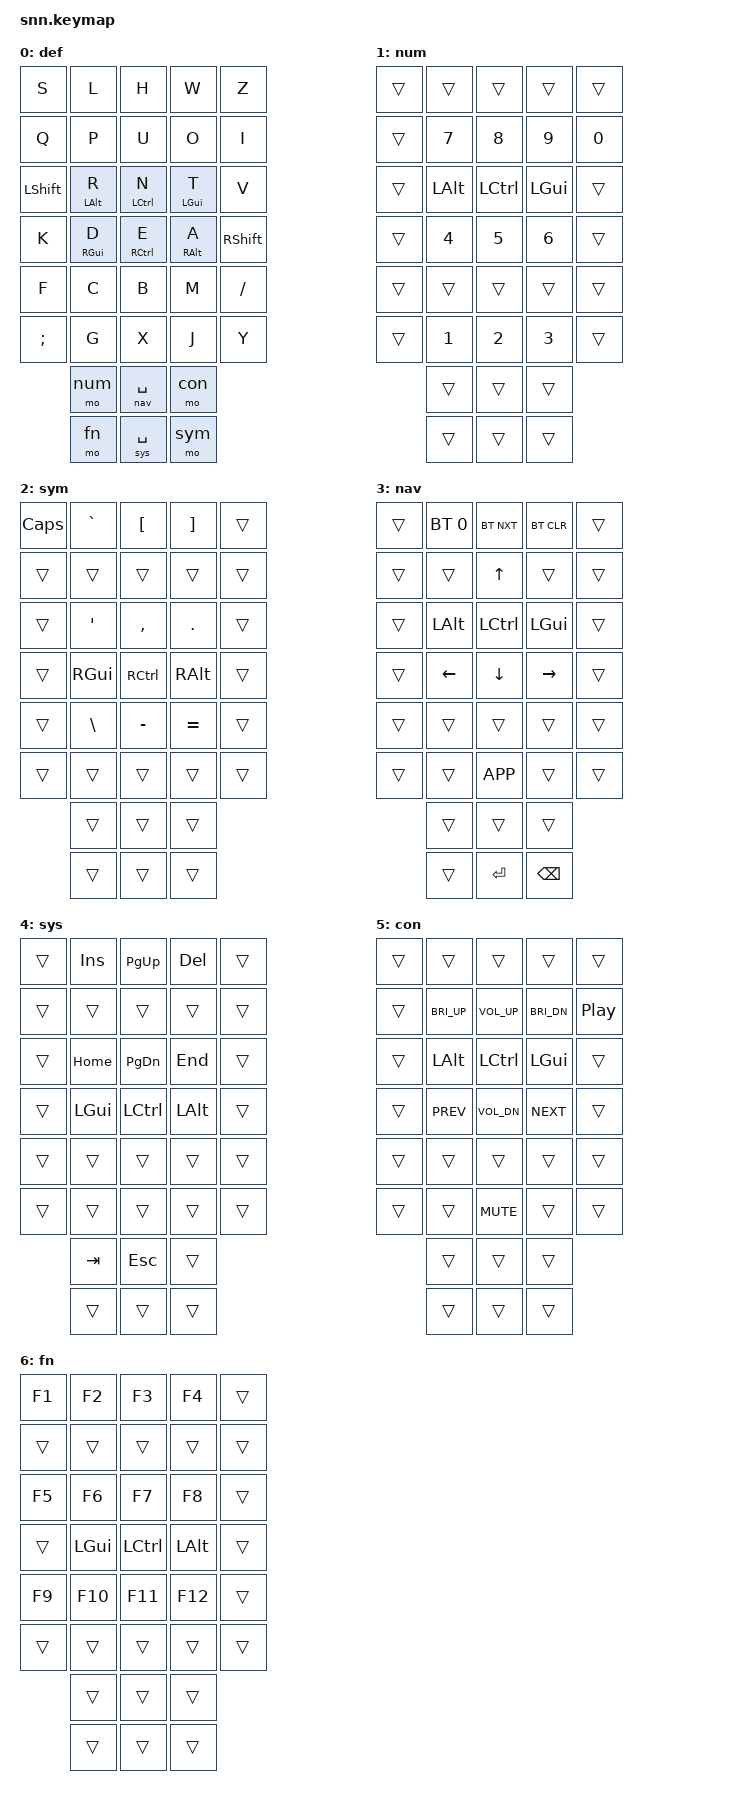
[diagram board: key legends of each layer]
#include <behaviors.dtsi>
#include <dt-bindings/zmk/keys.h>
#include <dt-bindings/zmk/bt.h>
#include <dt-bindings/zmk/outputs.h>

#define def 0
#define num 1
#define sym 2
#define nav 3
#define sys 4
#define con 5
#define fn 6

&lt {
    flavor = "balanced";
    tapping-term-ms = <1024>;
};

&mt {
    flavor = "balanced";
    tapping-term-ms = <1024>;
};

// &sk {
//     quick-release;
// };
//
// &sl {
//     quick-release;
// };

/ {

    keymap {
        compatible = "zmk,keymap";

        def {
//             ┌─────┐                                                 ┌─────┐
//       ┌─────┤  H  ├─────┬─────┐                         ┌─────┬─────┤  U  ├─────┐
// ┌─────┤  L  ├─────┤  W  │  Z  │                         │  Q  │  P  ├─────┤  O  ├─────┐
// │  S  ├─────┤  N  ├─────┼─────┤                         ├─────┼─────┤  E  ├─────┤  I  │
// ├─────┤  R  ├─CTL─┤  T  │  V  │                         │  K  │  D  ├─CTL─┤  A  ├─────┤
// │ SFT ├─ALT─┤  B  ├─GUI─┼─────┤                         ├─────┼─GUI─┤  X  ├─ALT─┤ SFT │
// ├─────┤  C  ├─────┤  M  │  /  │                         │  ;  │  G  ├─────┤  J  ├─────┤
// │  F  ├─────┘     └─────┴─────┘                         └─────┴─────┘     └─────┤  Y  │
// └─────┘               ┌─────┐                              ┌─────┐              └─────┘
//                       │ num ├─────┐                  ┌─────┤ sym │
//                       └─────┤ Spc ├─────┐      ┌─────┤ Spc ├─────┘
//                             └─nav─┤ con │      │ fn  ├─sys─┘
//                                   └─────┘      └─────┘
            bindings = <
                &kp S     &kp L     &kp H    &kp W      &kp Z
                    &kp Q    &kp P     &kp U    &kp O    &kp I

                &kp LSHFT     &mt LALT R     &mt LCTRL N    &mt LGUI T    &kp V
                    &kp K   &mt RGUI D     &mt RCTRL E      &mt RALT A     &kp RSHFT

                &kp F   &kp C   &kp B   &kp M   &kp SLASH
                    &kp SEMI   &kp G   &kp X   &kp J   &kp Y

                &mo num     &lt nav SPACE   &mo con
                    &mo fn    &lt sys SPACE    &mo sym
                >;
        };

        num {
//             ┌─────┐                                                 ┌─────┐
//       ┌─────┤     ├─────┬─────┐                         ┌─────┬─────┤  8  ├─────┐
// ┌─────┤     ├─────┤     │     │                         │     │  7  ├─────┤  9  ├─────┐
// │     ├─────┤ CTL ├─────┼─────┤                         ├─────┼─────┤  5  ├─────┤  0  │
// ├─────┤ ALT ├─────┤ GUI │     │                         │     │  4  ├─────┤  6  ├─────┤
// │     ├─────┤     ├─────┼─────┤                         ├─────┼─────┤  2  ├─────┤     │
// ├─────┤     ├─────┤     │     │                         │     │  1  ├─────┤  3  ├─────┤
// │     ├─────┘     └─────┴─────┘                         └─────┴─────┘     └─────┤     │
// └─────┘               ┌─────┐                              ┌─────┐              └─────┘
//                       │     ├─────┐                  ┌─────┤     │
//                       └─────┤     ├─────┐      ┌─────┤     ├─────┘
//                             └─────┤     │      │     ├─────┘
//                                   └─────┘      └─────┘
            bindings = <
                &trans    &trans    &trans    &trans    &trans
                    &trans      &kp N7      &kp N8      &kp N9      &kp N0

                &trans   &kp LALT   &kp LCTRL   &kp LGUI   &trans
                    &trans      &kp N4     &kp N5      &kp N6     &trans

                &trans    &trans     &trans      &trans     &trans
                    &trans      &kp N1     &kp N2      &kp N3     &trans

                &trans      &trans      &trans
                    &trans      &trans      &trans
                >;
        };

        sym {
//             ┌─────┐                                                 ┌─────┐
//       ┌─────┤  [  ├─────┬─────┐                         ┌─────┬─────┤     ├─────┐
// ┌─────┤  `  ├─────┤  ]  │     │                         │     │     ├─────┤     ├─────┐
// │ Cap ├─────┤  ,  ├─────┼─────┤                         ├─────┼─────┤ CTL ├─────┤     │
// ├─────┤  '  ├─────┤  .  │     │                         │     │ GUI ├─────┤ ALT ├─────┤
// │     ├─────┤  -  ├─────┼─────┤                         ├─────┼─────┤     ├─────┤     │
// ├─────┤  \  ├─────┤  =  │     │                         │     │     ├─────┤     ├─────┤
// │     ├─────┘     └─────┴─────┘                         └─────┴─────┘     └─────┤     │
// └─────┘               ┌─────┐                              ┌─────┐              └─────┘
//                       │     ├─────┐                  ┌─────┤     │
//                       └─────┤     ├─────┐      ┌─────┤     ├─────┘
//                             └─────┤     │      │     ├─────┘
//                                   └─────┘      └─────┘
            bindings = <
                &kp CAPS      &kp GRAVE   &kp LBKT      &kp RBKT    &trans
                    &trans      &trans      &trans        &trans      &trans

                &trans   &kp SQT     &kp COMMA     &kp DOT     &trans
                    &trans      &kp RGUI    &kp RCTRL     &kp RALT    &trans

                &trans    &kp BSLH    &kp MINUS     &kp EQUAL   &trans
                    &trans      &trans      &trans        &trans      &trans

                &trans      &trans      &trans
                    &trans      &trans      &trans
                >;
        };

        nav {
//             ┌─────┐                                                 ┌─────┐
//       ┌─────┤ BtN ├─────┬─────┐                         ┌─────┬─────┤  ↑  ├─────┐
// ┌─────┤ Bt0 ├─────┤ BtC │     │                         │     │     ├─────┤     ├─────┐
// │     ├─────┤ CTL ├─────┼─────┤                         ├─────┼─────┤  ↓  ├─────┤     │
// ├─────┤ ALT ├─────┤ GUI │     │                         │     │  ←  ├─────┤  →  ├─────┤
// │     ├─────┤     ├─────┼─────┤                         ├─────┼─────┤ App ├─────┤     │
// ├─────┤     ├─────┤     │     │                         │     │     ├─────┤     ├─────┤
// │     ├─────┘     └─────┴─────┘                         └─────┴─────┘     └─────┤     │
// └─────┘               ┌─────┐                              ┌─────┐              └─────┘
//                       │     ├─────┐                  ┌─────┤ Bsp │
//                       └─────┤     ├─────┐      ┌─────┤ Ret ├─────┘
//                             └─────┤     │      │     ├─────┘
//                                   └─────┘      └─────┘
            bindings = <
                &trans      &bt BT_SEL 0   &bt BT_NXT     &bt BT_CLR     &trans
                    &trans         &trans        &kp UP         &trans       &trans

                &trans      &kp LALT       &kp LCTRL      &kp LGUI       &trans
                    &trans        &kp LEFT       &kp DOWN       &kp RIGHT      &trans

                &trans         &trans      &trans     &trans         &trans
                    &trans         &trans      &kp K_APP     &trans         &trans

                &trans         &trans         &trans
                    &trans         &kp RET         &kp BSPC
                >;
        };

        sys {
//             ┌─────┐                                                 ┌─────┐
//       ┌─────┤ PUp ├─────┬─────┐                         ┌─────┬─────┤     ├─────┐
// ┌─────┤ Ins ├─────┤ Del │     │                         │     │     ├─────┤     ├─────┐
// │     ├─────┤ PDn ├─────┼─────┤                         ├─────┼─────┤ CTL ├─────┤     │
// ├─────┤ Hom ├─────┤ End │     │                         │     │ GUI ├─────┤ ALT ├─────┤
// │     ├─────┤     ├─────┼─────┤                         ├─────┼─────┤     ├─────┤     │
// ├─────┤     ├─────┤     │     │                         │     │     ├─────┤     ├─────┤
// │     ├─────┘     └─────┴─────┘                         └─────┴─────┘     └─────┤     │
// └─────┘               ┌─────┐                              ┌─────┐              └─────┘
//                       │     ├─────┐                  ┌─────┤     │
//                       └─────┤     ├─────┐      ┌─────┤     ├─────┘
//                             └─────┤     │      │     ├─────┘
//                                   └─────┘      └─────┘
            bindings = <
                &trans         &kp INS        &kp PG_UP         &kp DEL     &trans
                    &trans      &trans         &trans         &trans         &trans

                &trans      &kp HOME        &kp PG_DN         &kp END         &trans
                    &trans      &kp LGUI       &kp LCTRL      &kp LALT       &trans

                &trans         &trans         &trans         &trans         &trans
                    &trans      &trans         &trans         &trans         &trans

                &kp TAB        &kp ESC        &trans
                    &trans         &trans         &trans
                >;
        };

        con {
//             ┌─────┐                                                 ┌─────┐
//       ┌─────┤     ├─────┬─────┐                         ┌─────┬─────┤ VUp ├─────┐
// ┌─────┤     ├─────┤     │     │                         │     │ BUp ├─────┤ BDn ├─────┐
// │     ├─────┤ CTL ├─────┼─────┤                         ├─────┼─────┤ VDn ├─────┤ PP  │
// ├─────┤ ALT ├─────┤ GUI │     │                         │     │ Prv ├─────┤ Nxt ├─────┤
// │     ├─────┤     ├─────┼─────┤                         ├─────┼─────┤ Mut ├─────┤     │
// ├─────┤     ├─────┤     │     │                         │     │     ├─────┤     ├─────┤
// │     ├─────┘     └─────┴─────┘                         └─────┴─────┘     └─────┤     │
// └─────┘               ┌─────┐                              ┌─────┐              └─────┘
//                       │     ├─────┐                  ┌─────┤     │
//                       └─────┤     ├─────┐      ┌─────┤     ├─────┘
//                             └─────┤     │      │     ├─────┘
//                                   └─────┘      └─────┘
            bindings = <
                &trans         &trans      &trans       &trans      &trans
                    &trans      &kp C_BRI_UP    &kp C_VOL_UP    &kp C_BRI_DN    &kp C_PLAY_PAUSE

                &trans      &kp LALT       &kp LCTRL      &kp LGUI       &trans
                    &trans        &kp C_PREV       &kp C_VOL_DN       &kp C_NEXT      &trans

                &trans         &trans      &trans     &trans         &trans
                    &trans         &trans      &kp C_MUTE     &trans         &trans

                &trans         &trans         &trans
                    &trans         &trans         &trans
                >;
        };

        fn {
//             ┌─────┐                                                 ┌─────┐
//       ┌─────┤ F3  ├─────┬─────┐                         ┌─────┬─────┤     ├─────┐
// ┌─────┤ F2  ├─────┤ F4  │     │                         │     │     ├─────┤     ├─────┐
// │ F1  ├─────┤ F7  ├─────┼─────┤                         ├─────┼─────┤ CTL ├─────┤     │
// ├─────┤ F6  ├─────┤ F8  │     │                         │     │ GUI ├─────┤ ALT ├─────┤
// │ F5  ├─────┤ F11 ├─────┼─────┤                         ├─────┼─────┤     ├─────┤     │
// ├─────┤ F10 ├─────┤ F12 │     │                         │     │     ├─────┤     ├─────┤
// │ F9  ├─────┘     └─────┴─────┘                         └─────┴─────┘     └─────┤     │
// └─────┘               ┌─────┐                              ┌─────┐              └─────┘
//                       │     ├─────┐                  ┌─────┤     │
//                       └─────┤     ├─────┐      ┌─────┤     ├─────┘
//                             └─────┤     │      │     ├─────┘
//                                   └─────┘      └─────┘
            bindings = <
                &kp F1         &kp F2        &kp F3         &kp F4     &trans
                    &trans      &trans         &trans         &trans         &trans

                &kp F5         &kp F6        &kp F7         &kp F8     &trans
                    &trans      &kp LGUI       &kp LCTRL      &kp LALT       &trans

                &kp F9         &kp F10       &kp F11        &kp F12     &trans
                    &trans      &trans         &trans         &trans         &trans

                &trans         &trans         &trans
                    &trans         &trans         &trans
                >;
        };

    };

};
